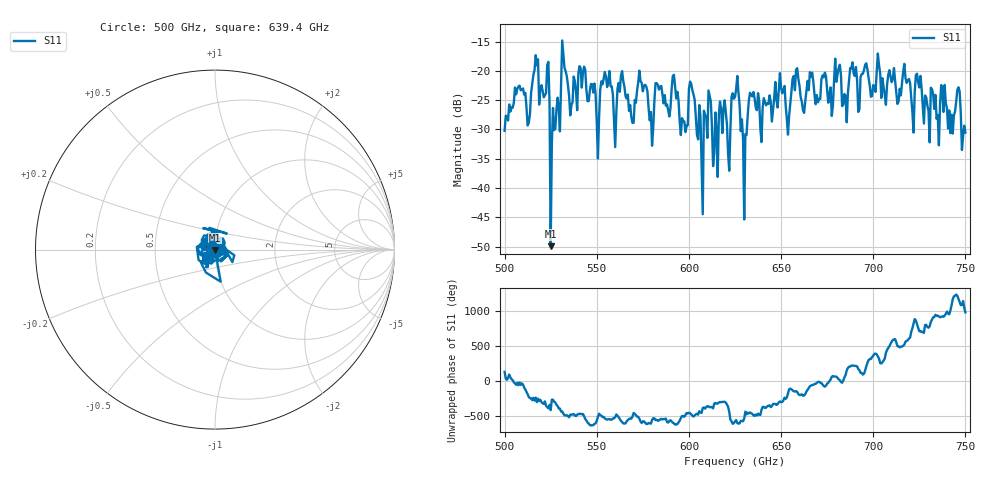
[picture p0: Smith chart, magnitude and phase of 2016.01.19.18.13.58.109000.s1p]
!Created with skrf (http://scikit-rf.org).
# GHz S RI R 50.0
!freq ReS11 ImS11
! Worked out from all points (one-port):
!   401 points, 500 GHz to 750 GHz, reference 50 ohm
!   lowest |S11| = -49.9 dB at 525 GHz (marker M1), VSWR 1.01, Z = 50.2 - j0.281 ohm
!   |S11| at or under -10 dB: start of sweep to end of sweep
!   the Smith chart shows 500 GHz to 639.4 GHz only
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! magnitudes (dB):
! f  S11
! 500 GHz  -30.2
! 506.9 GHz  -23.1
! 513.1 GHz  -28.9
! 516.9 GHz  -17.3
! 523.1 GHz  -19.0
! 525 GHz  -49.9
! 526.2 GHz  -26.3
! 531.2 GHz  -14.8
! 550.6 GHz  -35.0
! 553.8 GHz  -21.4
! 562.5 GHz  -23.6
! 579.4 GHz  -27.0
! 583.1 GHz  -22.4
! 593.8 GHz  -23.6
! 598.1 GHz  -30.5
! 601.9 GHz  -23.3
! 606.2 GHz  -27.7
! 610.6 GHz  -23.4
! 614.4 GHz  -27.1
! 625 GHz  -24.5
! 630 GHz  -45.4
! 633.8 GHz  -24.1
! 656.2 GHz  -21.3
! 687.5 GHz  -19.5
! 718.8 GHz  -21.7
! 741.9 GHz  -30.6
! 746.2 GHz  -22.8
! 750 GHz  -30.5
